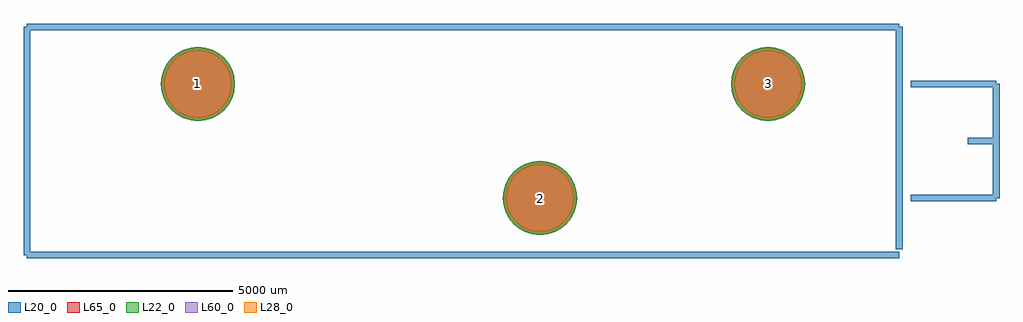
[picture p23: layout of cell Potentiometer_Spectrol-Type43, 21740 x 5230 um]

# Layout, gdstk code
import gdstk
lib = gdstk.Library(unit=1e-6, precision=1e-09)
def P(c, l, *ps):  # polygons
    for p in ps: c.add(gdstk.Polygon(p, *l))
L20_0 = (20, 0)
L22_0 = (22, 0)
L28_0 = (28, 0)
L60_0 = (60, 0)
L65_0 = (65, 0)

potentiometer_spectrol_t = lib.new_cell('Potentiometer_Spectrol-Type43')
P(potentiometer_spectrol_t, L22_0, [(825.57,0),(809.707,161.061),(762.727,315.932),(686.436,458.662),(583.766,583.766),(458.662,686.436),(315.932,762.727),(161.061,809.707),(0,825.57),(-161.061,809.707),(-315.932,762.727),(-458.662,686.436),(-583.766,583.766),(-686.436,458.662),(-762.727,315.932),(-809.707,161.061),(-825.57,0),(-809.707,-161.061),(-762.727,-315.932),(-686.436,-458.662),(-583.766,-583.766),(-458.662,-686.436),(-315.932,-762.727),(-161.061,-809.707),(0,-825.57),(161.061,-809.707),(315.932,-762.727),(458.662,-686.436),(583.766,-583.766),(686.436,-458.662),(762.727,-315.932),(809.707,-161.061)],
  [(13525.57,0),(13509.707,161.061),(13462.727,315.932),(13386.436,458.662),(13283.766,583.766),(13158.662,686.436),(13015.932,762.727),(12861.061,809.707),(12700,825.57),(12538.939,809.707),(12384.068,762.727),(12241.338,686.436),(12116.234,583.766),(12013.564,458.662),(11937.273,315.932),(11890.293,161.061),(11874.43,0),(11890.293,-161.061),(11937.273,-315.932),(12013.564,-458.662),(12116.234,-583.766),(12241.338,-686.436),(12384.068,-762.727),(12538.939,-809.707),(12700,-825.57),(12861.061,-809.707),(13015.932,-762.727),(13158.662,-686.436),(13283.766,-583.766),(13386.436,-458.662),(13462.727,-315.932),(13509.707,-161.061)],
  [(8445.57,-2540),(8429.707,-2378.939),(8382.727,-2224.068),(8306.436,-2081.338),(8203.766,-1956.234),(8078.662,-1853.564),(7935.932,-1777.273),(7781.061,-1730.293),(7620,-1714.43),(7458.939,-1730.293),(7304.068,-1777.273),(7161.338,-1853.564),(7036.234,-1956.234),(6933.564,-2081.338),(6857.273,-2224.068),(6810.293,-2378.939),(6794.43,-2540),(6810.293,-2701.061),(6857.273,-2855.932),(6933.564,-2998.662),(7036.234,-3123.766),(7161.338,-3226.436),(7304.068,-3302.727),(7458.939,-3349.707),(7620,-3365.57),(7781.061,-3349.707),(7935.932,-3302.727),(8078.662,-3226.436),(8203.766,-3123.766),(8306.436,-2998.662),(8382.727,-2855.932),(8429.707,-2701.061)])
P(potentiometer_spectrol_t, L28_0, [(750.57,0),(736.148,146.429),(693.436,287.231),(624.076,416.994),(530.733,530.733),(416.994,624.076),(287.231,693.436),(146.429,736.148),(0,750.57),(-146.429,736.148),(-287.231,693.436),(-416.994,624.076),(-530.733,530.733),(-624.076,416.994),(-693.436,287.231),(-736.148,146.429),(-750.57,0),(-736.148,-146.429),(-693.436,-287.231),(-624.076,-416.994),(-530.733,-530.733),(-416.994,-624.076),(-287.231,-693.436),(-146.429,-736.148),(0,-750.57),(146.429,-736.148),(287.231,-693.436),(416.994,-624.076),(530.733,-530.733),(624.076,-416.994),(693.436,-287.231),(736.148,-146.429)],
  [(13450.57,0),(13436.148,146.429),(13393.436,287.231),(13324.076,416.994),(13230.733,530.733),(13116.994,624.076),(12987.231,693.436),(12846.429,736.148),(12700,750.57),(12553.571,736.148),(12412.769,693.436),(12283.006,624.076),(12169.267,530.733),(12075.924,416.994),(12006.564,287.231),(11963.852,146.429),(11949.43,0),(11963.852,-146.429),(12006.564,-287.231),(12075.924,-416.994),(12169.267,-530.733),(12283.006,-624.076),(12412.769,-693.436),(12553.571,-736.148),(12700,-750.57),(12846.429,-736.148),(12987.231,-693.436),(13116.994,-624.076),(13230.733,-530.733),(13324.076,-416.994),(13393.436,-287.231),(13436.148,-146.429)],
  [(8370.57,-2540),(8356.148,-2393.571),(8313.436,-2252.769),(8244.076,-2123.006),(8150.733,-2009.267),(8036.994,-1915.924),(7907.231,-1846.564),(7766.429,-1803.852),(7620,-1789.43),(7473.571,-1803.852),(7332.769,-1846.564),(7203.006,-1915.924),(7089.267,-2009.267),(6995.924,-2123.006),(6926.564,-2252.769),(6883.852,-2393.571),(6869.43,-2540),(6883.852,-2686.429),(6926.564,-2827.231),(6995.924,-2956.994),(7089.267,-3070.733),(7203.006,-3164.076),(7332.769,-3233.436),(7473.571,-3276.148),(7620,-3290.57),(7766.429,-3276.148),(7907.231,-3233.436),(8036.994,-3164.076),(8150.733,-3070.733),(8244.076,-2956.994),(8313.436,-2827.231),(8356.148,-2686.429)])
P(potentiometer_spectrol_t, L60_0, [(750.57,0),(736.148,146.429),(693.436,287.231),(624.076,416.994),(530.733,530.733),(416.994,624.076),(287.231,693.436),(146.429,736.148),(0,750.57),(-146.429,736.148),(-287.231,693.436),(-416.994,624.076),(-530.733,530.733),(-624.076,416.994),(-693.436,287.231),(-736.148,146.429),(-750.57,0),(-736.148,-146.429),(-693.436,-287.231),(-624.076,-416.994),(-530.733,-530.733),(-416.994,-624.076),(-287.231,-693.436),(-146.429,-736.148),(0,-750.57),(146.429,-736.148),(287.231,-693.436),(416.994,-624.076),(530.733,-530.733),(624.076,-416.994),(693.436,-287.231),(736.148,-146.429)],
  [(13450.57,0),(13436.148,146.429),(13393.436,287.231),(13324.076,416.994),(13230.733,530.733),(13116.994,624.076),(12987.231,693.436),(12846.429,736.148),(12700,750.57),(12553.571,736.148),(12412.769,693.436),(12283.006,624.076),(12169.267,530.733),(12075.924,416.994),(12006.564,287.231),(11963.852,146.429),(11949.43,0),(11963.852,-146.429),(12006.564,-287.231),(12075.924,-416.994),(12169.267,-530.733),(12283.006,-624.076),(12412.769,-693.436),(12553.571,-736.148),(12700,-750.57),(12846.429,-736.148),(12987.231,-693.436),(13116.994,-624.076),(13230.733,-530.733),(13324.076,-416.994),(13393.436,-287.231),(13436.148,-146.429)],
  [(8370.57,-2540),(8356.148,-2393.571),(8313.436,-2252.769),(8244.076,-2123.006),(8150.733,-2009.267),(8036.994,-1915.924),(7907.231,-1846.564),(7766.429,-1803.852),(7620,-1789.43),(7473.571,-1803.852),(7332.769,-1846.564),(7203.006,-1915.924),(7089.267,-2009.267),(6995.924,-2123.006),(6926.564,-2252.769),(6883.852,-2393.571),(6869.43,-2540),(6883.852,-2686.429),(6926.564,-2827.231),(6995.924,-2956.994),(7089.267,-3070.733),(7203.006,-3164.076),(7332.769,-3233.436),(7473.571,-3276.148),(7620,-3290.57),(7766.429,-3276.148),(7907.231,-3233.436),(8036.994,-3164.076),(8150.733,-3070.733),(8244.076,-2956.994),(8313.436,-2827.231),(8356.148,-2686.429)])
P(potentiometer_spectrol_t, L65_0, [(825.57,0),(809.707,161.061),(762.727,315.932),(686.436,458.662),(583.766,583.766),(458.662,686.436),(315.932,762.727),(161.061,809.707),(0,825.57),(-161.061,809.707),(-315.932,762.727),(-458.662,686.436),(-583.766,583.766),(-686.436,458.662),(-762.727,315.932),(-809.707,161.061),(-825.57,0),(-809.707,-161.061),(-762.727,-315.932),(-686.436,-458.662),(-583.766,-583.766),(-458.662,-686.436),(-315.932,-762.727),(-161.061,-809.707),(0,-825.57),(161.061,-809.707),(315.932,-762.727),(458.662,-686.436),(583.766,-583.766),(686.436,-458.662),(762.727,-315.932),(809.707,-161.061)],
  [(13525.57,0),(13509.707,161.061),(13462.727,315.932),(13386.436,458.662),(13283.766,583.766),(13158.662,686.436),(13015.932,762.727),(12861.061,809.707),(12700,825.57),(12538.939,809.707),(12384.068,762.727),(12241.338,686.436),(12116.234,583.766),(12013.564,458.662),(11937.273,315.932),(11890.293,161.061),(11874.43,0),(11890.293,-161.061),(11937.273,-315.932),(12013.564,-458.662),(12116.234,-583.766),(12241.338,-686.436),(12384.068,-762.727),(12538.939,-809.707),(12700,-825.57),(12861.061,-809.707),(13015.932,-762.727),(13158.662,-686.436),(13283.766,-583.766),(13386.436,-458.662),(13462.727,-315.932),(13509.707,-161.061)],
  [(8445.57,-2540),(8429.707,-2378.939),(8382.727,-2224.068),(8306.436,-2081.338),(8203.766,-1956.234),(8078.662,-1853.564),(7935.932,-1777.273),(7781.061,-1730.293),(7620,-1714.43),(7458.939,-1730.293),(7304.068,-1777.273),(7161.338,-1853.564),(7036.234,-1956.234),(6933.564,-2081.338),(6857.273,-2224.068),(6810.293,-2378.939),(6794.43,-2540),(6810.293,-2701.061),(6857.273,-2855.932),(6933.564,-2998.662),(7036.234,-3123.766),(7161.338,-3226.436),(7304.068,-3302.727),(7458.939,-3349.707),(7620,-3365.57),(7781.061,-3349.707),(7935.932,-3302.727),(8078.662,-3226.436),(8203.766,-3123.766),(8306.436,-2998.662),(8382.727,-2855.932),(8429.707,-2701.061)])
potentiometer_spectrol_t.add(gdstk.FlexPath([(15621,-3683),(15621,1270)], 149.998, ends="flush", simple_path=True, layer=20, datatype=0))  # L20_0
potentiometer_spectrol_t.add(gdstk.FlexPath([(-3810,-3810),(15621,-3810)], 149.998, ends="flush", simple_path=True, layer=20, datatype=0))  # L20_0
potentiometer_spectrol_t.add(gdstk.FlexPath([(-3810,-3683),(-3810,-3810)], 149.998, ends="flush", simple_path=True, layer=20, datatype=0))  # L20_0
potentiometer_spectrol_t.add(gdstk.FlexPath([(-3810,1270),(-3810,-3683)], 149.998, ends="flush", simple_path=True, layer=20, datatype=0))  # L20_0
potentiometer_spectrol_t.add(gdstk.FlexPath([(15621,1270),(-3810,1270)], 149.998, ends="flush", simple_path=True, layer=20, datatype=0))  # L20_0
potentiometer_spectrol_t.add(gdstk.FlexPath([(17780,-2540),(15875,-2540)], 149.998, ends="flush", simple_path=True, layer=20, datatype=0))  # L20_0
potentiometer_spectrol_t.add(gdstk.FlexPath([(17780,0),(17780,-2540)], 149.998, ends="flush", simple_path=True, layer=20, datatype=0))  # L20_0
potentiometer_spectrol_t.add(gdstk.FlexPath([(15875,0),(17780,0)], 149.998, ends="flush", simple_path=True, layer=20, datatype=0))  # L20_0
potentiometer_spectrol_t.add(gdstk.FlexPath([(17145,-1270),(17780,-1270)], 149.998, ends="flush", simple_path=True, layer=20, datatype=0))  # L20_0
potentiometer_spectrol_t.add(gdstk.Label('1', (0,0), layer=28, texttype=0))
potentiometer_spectrol_t.add(gdstk.Label('3', (12700,0), layer=28, texttype=0))
potentiometer_spectrol_t.add(gdstk.Label('2', (7620,-2540), layer=28, texttype=0))
potentiometer_spectrol_t.add(gdstk.Label('type', (7419.34,-6370.32), layer=9, texttype=0))
potentiometer_spectrol_t.add(gdstk.Label('devicename', (7419.34,3830.32), layer=9, texttype=0))

lib.write_gds('Potentiometer_Spectrol-Type43.gds')
